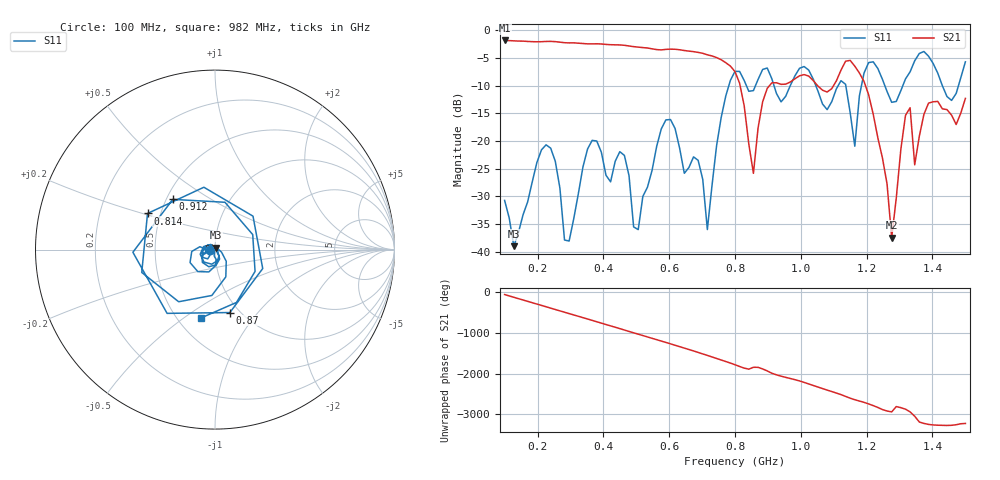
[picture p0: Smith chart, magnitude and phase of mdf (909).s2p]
! NanoVNA-App
! Date: 2025-09-25 15:45:29
! Start: 100MHz Stop: 1,5GHz Points: 101
! S-Parameter data: F S11 S21 S12 S22
# Hz S RI R 50
!  Frequency  S11_Real  S11_Imag  S21_Real  S21_Imag  S12_Real  S12_Imag  S22_Real  S22_Imag
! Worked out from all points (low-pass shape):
!   101 points, 100 MHz to 1.5 GHz, reference 50 ohm
!   highest |S21| = -1.80 dB at 100 MHz (marker M1); lowest = -37.4 dB at 1.276 GHz (marker M2)
!   |S21| within 3 dB of the highest: start of sweep to 739.6 MHz
!   lowest |S11| = -39.0 dB at 128 MHz (marker M3), VSWR 1.02, Z = 50.3 + j1.07 ohm
!   |S11| at or under -10 dB: start of sweep to 781.1 MHz; 1.046 GHz to 1.113 GHz (67.53 MHz wide, 6.26 % of centre); 1.255 GHz to 1.31 GHz (54.34 MHz wide, 4.24 % of centre)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
!   S12 and S22 are empty: the file has one direction only
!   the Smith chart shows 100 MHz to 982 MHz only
!   S11 on the Smith chart (normalised r, x): 100 MHz: 0.94, -0.01; 814 MHz: 0.42, +0.21; 870 MHz: 0.90, -0.73; 912 MHz: 0.54, +0.35; 982 MHz: 0.65, -0.58
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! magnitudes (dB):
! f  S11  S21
! 100 MHz  -30.7  -1.8
! 128 MHz  -39.0  -1.9
! 212 MHz  -21.6  -2.0
! 282 MHz  -37.9  -2.2
! 338 MHz  -24.7  -2.4
! 464 MHz  -22.6  -2.7
! 506 MHz  -36.0  -3.0
! 576 MHz  -17.8  -3.5
! 716 MHz  -36.0  -4.4
! 800 MHz  -7.4  -7.4
! 814 MHz  -7.4  -9.5
! 856 MHz  -10.9  -25.8
! 870 MHz  -8.9  -17.7
! 912 MHz  -8.7  -9.5
! 982 MHz  -8.2  -8.7
! 1.038 GHz  -8.8  -9.1
! 1.164 GHz  -20.9  -6.5
! 1.192 GHz  -7.7  -9.2
! 1.276 GHz  -13.0  -37.4
! 1.318 GHz  -8.8  -15.3
! 1.346 GHz  -5.5  -24.3
! 1.5 GHz  -5.7  -12.3
